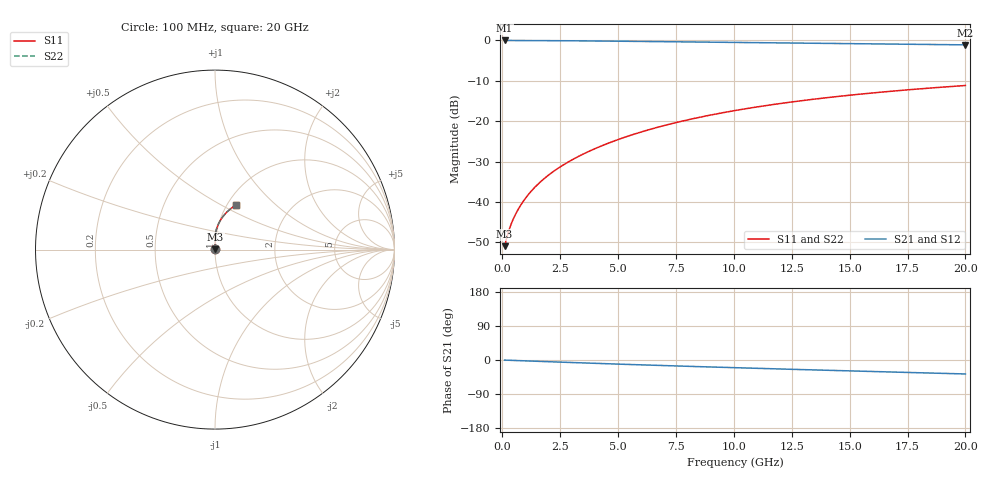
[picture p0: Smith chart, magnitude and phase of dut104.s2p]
! Touchstone file exported from HFSS 2024.1.0
!  File:  C:/UserFiles/LocalFiles/RDL_TSV_Batchsim/temp_RDL_bottom_104_1778695315.aedt
!  Generated:  02:04:12 AM May 14, 2026
!  Design:  RDL_bottom
!  Project:  temp_RDL_bottom_104_1778695315
!  Setup:  Setup1
!  Solution:  Sweep
! Variables:
!  dtsv = 10.80580581um
!  hbump = 3um
!  htsv = 53.27um
!  ldown = 577.59um
!  lrdl = 100um
!  p = 40
!  p1 = 44.32um
!  rhole = 1um
!  t = 450um
!  tdown = 3.43um
!  trdl = 3.915915916um
!  wdown = 26.31um
!  wrdl = 20um
# GHz S MA R 50.000000
! Terminal data exported
! Port[1] = RDL1_T1
! Port[2] = RDL1_T2
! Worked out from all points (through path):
!   200 points, 100 MHz to 20 GHz, reference 50 ohm
!   highest |S21| = -0.02 dB at 100 MHz (marker M1); lowest = -1.1 dB at 20 GHz (marker M2)
!   group delay of S21, straight-line fit = 5.04 ps
!   lowest |S11| = -50.9 dB at 100 MHz (marker M3), VSWR 1.01, Z = 50.3 + j0.132 ohm
!   |S11| at or under -10 dB: start of sweep to end of sweep
!   |S22| runs from -50.9 to -11.2 dB; largest |S21 - S12| = 2.6e-15
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0.1  0.002844 27.5  0.9975 -0.2  0.9975 -0.2  0.002844 27.5
! Gamma 0 0 0 0
! Port Impedance 50 0 50 0
0.2  0.003685 42.9  0.9973 -0.5  0.9973 -0.5  0.003685 42.9
0.3  0.004597 51.4  0.997 -0.7  0.997 -0.7  0.004597 51.4
0.4  0.005501 57.2  0.9968 -0.9  0.9968 -0.9  0.005501 57.2
0.5  0.006403 61.5  0.9966 -1.2  0.9966 -1.2  0.006403 61.5
0.8  0.009188 70.4  0.996 -1.8  0.996 -1.8  0.009189 70.4
1  0.01113 74.3  0.9956 -2.3  0.9956 -2.3  0.01113 74.3
1.2  0.01312 77.2  0.9952 -2.7  0.9952 -2.7  0.01312 77.2
1.7  0.01833 82.1  0.9938 -3.8  0.9938 -3.8  0.01832 82.1
2.2  0.0238 85.1  0.992 -4.9  0.992 -4.9  0.0238 85.0
2.8  0.03072 87.3  0.9894 -6.3  0.9894 -6.3  0.03072 87.3
3.5  0.03929 88.9  0.9859 -7.8  0.9859 -7.8  0.03928 88.9
4.2  0.04835 89.7  0.9818 -9.2  0.9818 -9.2  0.04835 89.7
5  0.05927 89.9  0.9768 -10.9  0.9768 -10.9  0.05926 89.9
5.9  0.07215 89.5  0.9708 -12.6  0.9708 -12.6  0.07214 89.5
6.8  0.0855 88.6  0.9646 -14.4  0.9646 -14.4  0.08549 88.6
8.4  0.11 86.3  0.9536 -17.4  0.9536 -17.4  0.1099 86.3
10.1  0.1363 83.3  0.942 -20.4  0.942 -20.4  0.1363 83.2
11.7  0.1609 80.2  0.9315 -23.2  0.9315 -23.2  0.1608 80.2
13.4  0.1864 76.9  0.9206 -26.1  0.9206 -26.1  0.1863 76.8
16.7  0.2334 70.5  0.9001 -31.6  0.9001 -31.6  0.2334 70.4
20  0.2765 64.4  0.8801 -36.8  0.8801 -36.8  0.2763 64.3
